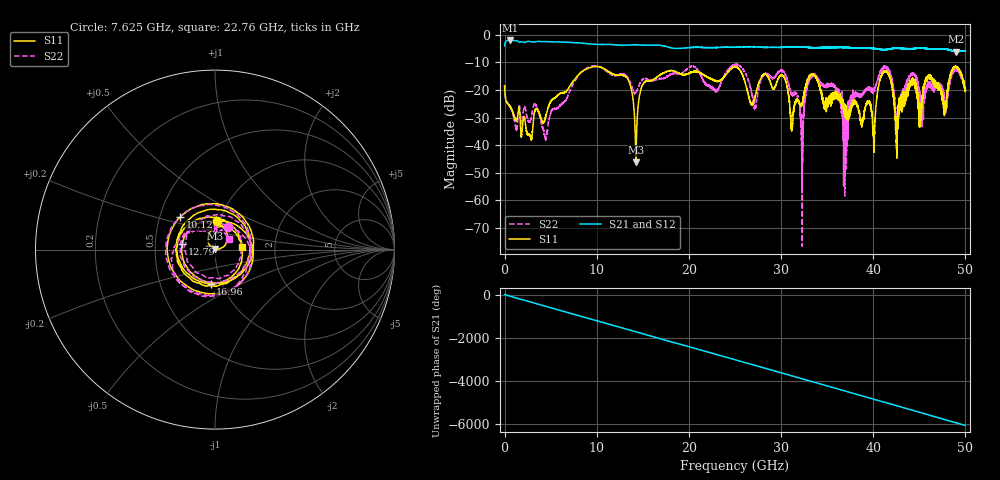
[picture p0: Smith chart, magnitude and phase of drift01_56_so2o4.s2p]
!Created with skrf (http://scikit-rf.org).
# Hz S RI R 50.0
!freq ReS11 ImS11 ReS21 ImS21 ReS12 ImS12 ReS22 ImS22
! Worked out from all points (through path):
!   10001 points, 300 kHz to 50 GHz, reference 50 ohm
!   highest |S21| = -2.00 dB at 570.3 MHz (marker M1); lowest = -6.1 dB at 48.98 GHz (marker M2)
!   group delay of S21, straight-line fit = 336 ps
!   lowest |S11| = -46.3 dB at 14.25 GHz (marker M3), VSWR 1.01, Z = 50.1 + j0.48 ohm
!   |S11| at or under -10 dB: start of sweep to end of sweep
!   |S22| runs from -76.7 to -10.6 dB; largest |S21 - S12| = 0.02
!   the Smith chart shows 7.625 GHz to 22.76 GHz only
!   S11 on the Smith chart (normalised r, x): 7.625 GHz: 0.97, +0.31; 10.12 GHz: 0.64, +0.25; 12.79 GHz: 0.69, +0.05; 16.96 GHz: 0.89, -0.35; 22.76 GHz: 1.35, +0.03
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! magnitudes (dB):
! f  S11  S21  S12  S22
! 300 kHz  -18.5  -4.0  -4.1  -18.2
! 570.3 MHz  -26.0  -2.0  -2.0  -26.0
! 4.44 GHz  -29.9  -2.4  -2.4  -37.9
! 7.625 GHz  -16.1  -2.8  -2.8  -16.7
! 8.335 GHz  -13.5  -2.9  -3.0  -13.5
! 10.12 GHz  -11.5  -3.4  -3.4  -11.4
! 12.79 GHz  -14.7  -3.7  -3.7  -14.3
! 14.25 GHz  -46.3  -3.6  -3.6  -21.1
! 16.67 GHz  -15.0  -3.7  -3.7  -15.9
! 16.96 GHz  -14.4  -3.8  -3.8  -15.7
! 22.76 GHz  -16.5  -4.6  -4.6  -19.9
! 25 GHz  -11.5  -4.5  -4.5  -10.8
! 27.17 GHz  -22.6  -4.3  -4.3  -26.0
! 30.22 GHz  -14.9  -4.5  -4.5  -13.4
! 32.27 GHz  -25.2  -4.3  -4.4  -44.2
! 33.34 GHz  -14.3  -4.6  -4.6  -14.6
! 36.99 GHz  -30.4  -4.6  -4.4  -29.9
! 40.05 GHz  -38.3  -4.9  -4.8  -19.9
! 41.67 GHz  -14.0  -5.1  -5.1  -13.0
! 42.59 GHz  -33.0  -4.8  -4.8  -31.8
! 48.98 GHz  -11.6  -6.1  -6.0  -12.7
! 50 GHz  -19.8  -5.8  -5.8  -19.5
